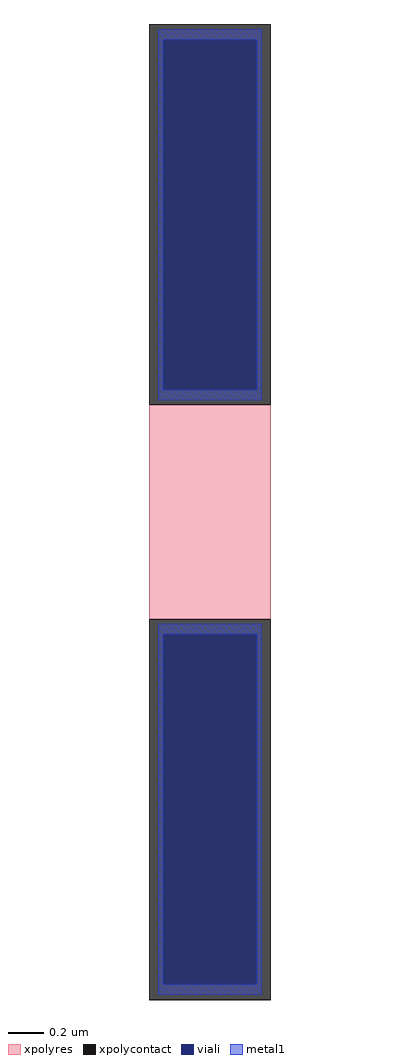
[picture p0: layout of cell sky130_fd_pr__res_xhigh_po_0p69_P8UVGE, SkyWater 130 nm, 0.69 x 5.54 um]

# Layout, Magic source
magic
tech sky130A
magscale 1 2
<< xpolycontact >>
rect -69 122 69 554
rect -69 -554 69 -122
<< xpolyres >>
rect -69 -122 69 122
<< viali >>
rect -53 139 53 536
rect -53 -536 53 -139
<< metal1 >>
rect -59 536 59 548
rect -59 139 -53 536
rect 53 139 59 536
rect -59 127 59 139
rect -59 -139 59 -127
rect -59 -536 -53 -139
rect 53 -536 59 -139
rect -59 -548 59 -536
<< properties >>
string gencell sky130_fd_pr__res_xhigh_po_0p69
string library sky130
string parameters w 0.690 l 1.38 m 1 nx 1 wmin 0.690 lmin 0.50 rho 2000 val 4.545k dummy 0 dw 0.0 term 188.2 sterm 0.0 caplen 0 wmax 0.690 guard 0 glc 0 grc 0 gtc 0 gbc 0 compatible {sky130_fd_pr__res_xhigh_po_0p35  sky130_fd_pr__res_xhigh_po_0p69 sky130_fd_pr__res_xhigh_po_1p41  sky130_fd_pr__res_xhigh_po_2p85 sky130_fd_pr__res_xhigh_po_5p73} snake 0 full_metal 0 n_guard 0 hv_guard 0 vias 1 viagb 0 viagt 0 viagl 0 viagr 0
string sky130_fd_pr__res_xhigh_po_0p69_P8UVGE parameters
<< end >>
